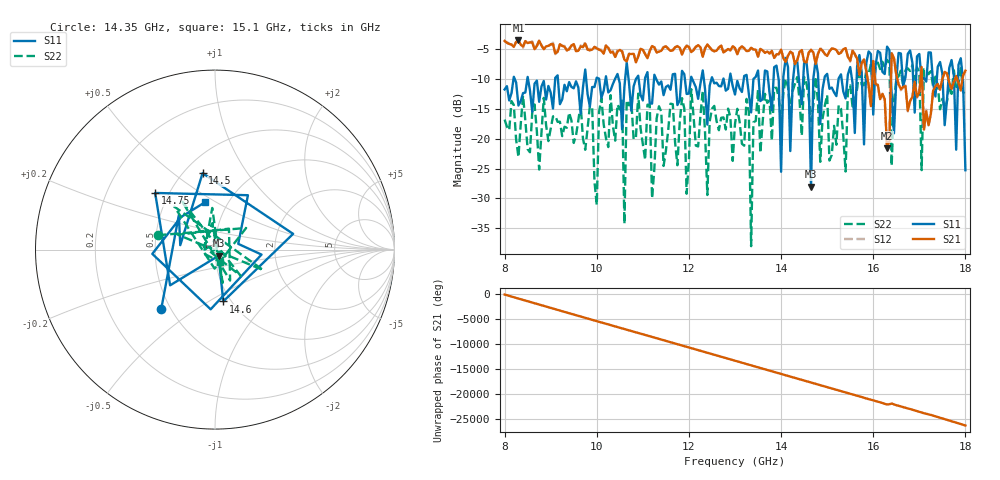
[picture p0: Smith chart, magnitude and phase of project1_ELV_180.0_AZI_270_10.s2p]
! 10/29/2026 5:00:44 PM
! C:\ANRITSUVNA\TEMP\TEMP.S2P
! CHANNEL.1
! TR.MEASUREMENT
! RAW.DATA
# HZ S RI R 50.0
! FREQ.HZ  S11RE  S11IM  S21RE  S21IM  S12RE  S12IM  S22RE  S22IM
!; PortSelection: Port_12
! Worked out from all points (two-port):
!   201 points, 8 GHz to 18 GHz, reference 50 ohm
!   highest |S21| = -3.53 dB at 8.3 GHz (marker M1); lowest = -21.6 dB at 16.3 GHz (marker M2)
!   |S21| within 3 dB of the highest: start of sweep to 10.59 GHz; 10.88 GHz to 14.05 GHz (3.166 GHz wide, 25.4 % of centre) (the widest 2 of 9)
!   lowest |S11| = -28.0 dB at 14.65 GHz (marker M3), VSWR 1.08, Z = 51.9 - j3.59 ohm
!   |S11| at or under -10 dB: 8.508 GHz to 9.098 GHz (589.6 MHz wide, 6.7 % of centre); 9.157 GHz to 9.723 GHz (566.9 MHz wide, 6.01 % of centre); 11.29 GHz to 11.63 GHz (343.4 MHz wide, 3 % of centre) (the widest 3 of 41)
!   |S22| runs from -38.0 to -6.8 dB; largest |S21 - S12| = 0.29
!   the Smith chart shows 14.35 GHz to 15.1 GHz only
!   S11 on the Smith chart (normalised r, x): 14.35 GHz: 0.45, -0.37; 14.5 GHz: 0.61, +0.64; 14.6 GHz: 0.92, -0.58; 14.75 GHz: 0.42, +0.34; 15.1 GHz: 0.78, +0.44
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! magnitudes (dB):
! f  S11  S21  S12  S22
! 8 GHz  -11.7  -3.6  -3.7  -16.8
! 8.3 GHz  -14.4  -3.5  -3.5  -23.1
! 9.7 GHz  -11.4  -4.6  -4.7  -19.9
! 10.6 GHz  -11.3  -6.7  -6.7  -34.3
! 11.35 GHz  -10.9  -5.4  -5.4  -14.5
! 13 GHz  -12.6  -4.8  -4.9  -17.5
! 13.3 GHz  -12.5  -5.2  -5.3  -15.4
! 13.35 GHz  -15.6  -4.8  -4.7  -38.0
! 13.5 GHz  -8.6  -6.2  -6.2  -11.7
! 14 GHz  -25.5  -5.1  -5.1  -17.5
! 14.35 GHz  -7.0  -6.8  -6.8  -9.7
! 14.5 GHz  -7.3  -7.1  -7.1  -9.6
! 14.6 GHz  -10.7  -5.6  -5.5  -13.0
! 14.65 GHz  -28.0  -5.1  -5.1  -17.1
! 14.7 GHz  -9.9  -5.5  -5.7  -14.3
! 14.75 GHz  -6.8  -7.4  -7.4  -9.6
! 15.1 GHz  -11.4  -4.9  -4.9  -22.7
! 16.3 GHz  -4.6  -21.6  -21.5  -6.8
! 16.35 GHz  -5.1  -20.4  -20.5  -7.3
! 17.05 GHz  -10.2  -8.0  -8.1  -25.3
! 17.9 GHz  -6.5  -11.8  -11.9  -8.2
! 18 GHz  -25.3  -8.6  -8.8  -12.6
